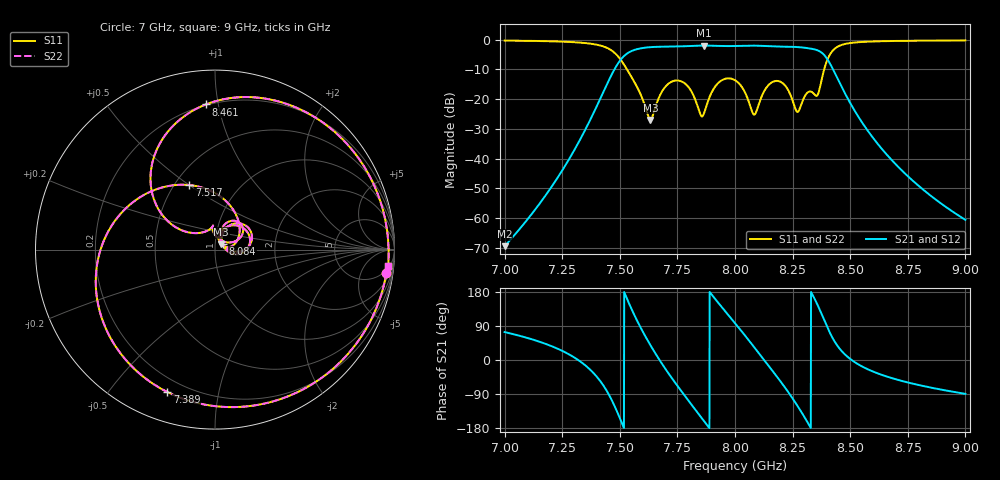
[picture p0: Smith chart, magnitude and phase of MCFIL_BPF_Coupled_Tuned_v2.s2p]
! Created Sun Apr  7 04:29:05 2024
# hz S db R 50
! 2 Port Network Data from SP1.SP block
! freq  dbS11  angS11  dbS21  angS21  dbS12  angS12  dbS22  angS22
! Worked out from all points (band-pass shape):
!   2001 points, 7 GHz to 9 GHz, reference 50 ohm
!   highest |S21| = -2.00 dB at 7.865 GHz (marker M1); lowest = -69.4 dB at 7 GHz (marker M2)
!   |S21| within 3 dB of the highest: 7.526 GHz to 8.385 GHz (859 MHz wide, 10.8 % of centre)
!   lowest |S11| = -27.0 dB at 7.633 GHz (marker M3), VSWR 1.09, Z = 53.4 + j3.11 ohm
!   |S11| at or under -10 dB: 7.531 GHz to 8.387 GHz (855.8 MHz wide, 10.8 % of centre)
!   |S22| runs from -27.0 to -0.3 dB; largest |S21 - S12| = 0
!   S11 on the Smith chart (normalised r, x): 7 GHz: 4, -14; 7.389 GHz: 0.13, -0.71; 7.517 GHz: 0.59, +0.50; 8.084 GHz: 1.09, +0.07; 8.461 GHz: 0.20, +0.92; 9 GHz: 6, -19
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7e9  -0.32 -7.6  -69.44 73.7  -69.44 73.7  -0.32 -7.6
7.196e9  -0.54 -39.9  -50.35 38.4  -50.35 38.4  -0.54 -39.9
7.334e9  -1.03 -80.7  -32.68 -6.4  -32.68 -6.4  -1.03 -80.7
7.389e9  -1.55 -108.5  -24.19 -36.4  -24.19 -36.4  -1.55 -108.5
7.459e9  -3.37 -167.8  -12.64 -98.6  -12.64 -98.6  -3.37 -167.8
7.517e9  -8.24 111.7  -5.61 -177.9  -5.61 -177.9  -8.24 111.7
7.578e9  -16.37 29.1  -3.14 100.2  -3.14 100.2  -16.37 29.1
7.633e9  -26.97 40.4  -2.52 39.0  -2.52 39.0  -26.97 40.4
7.667e9  -19.98 71.0  -2.40 5.2  -2.40 5.2  -19.98 71.0
7.768e9  -14.06 11.2  -2.26 -82.9  -2.26 -82.9  -14.06 11.2
7.865e9  -24.88 45.2  -2.00 -160.9  -2.00 -160.9  -24.88 45.2
7.925e9  -14.75 52.7  -2.10 152.7  -2.10 152.7  -14.75 52.7
8e9  -13.64 12.6  -2.14 97.2  -2.14 97.2  -13.64 12.6
8.084e9  -25.24 35.2  -2.02 33.2  -2.02 33.2  -25.24 35.2
8.151e9  -14.86 61.6  -2.23 -19.4  -2.23 -19.4  -14.86 61.6
8.228e9  -16.58 24.2  -2.38 -82.0  -2.38 -82.0  -16.58 24.2
8.271e9  -24.31 59.1  -2.49 -120.8  -2.49 -120.8  -24.31 59.1
8.334e9  -17.63 95.1  -3.09 174.9  -3.09 174.9  -17.63 95.1
8.384e9  -10.85 149.6  -4.91 109.9  -4.91 109.9  -10.85 149.6
8.461e9  -1.83 93.6  -15.58 25.0  -15.58 25.0  -1.83 93.6
8.667e9  -0.48 34.2  -39.37 -45.2  -39.37 -45.2  -0.48 34.2
9e9  -0.27 -5.5  -60.59 -89.3  -60.59 -89.3  -0.27 -5.5
